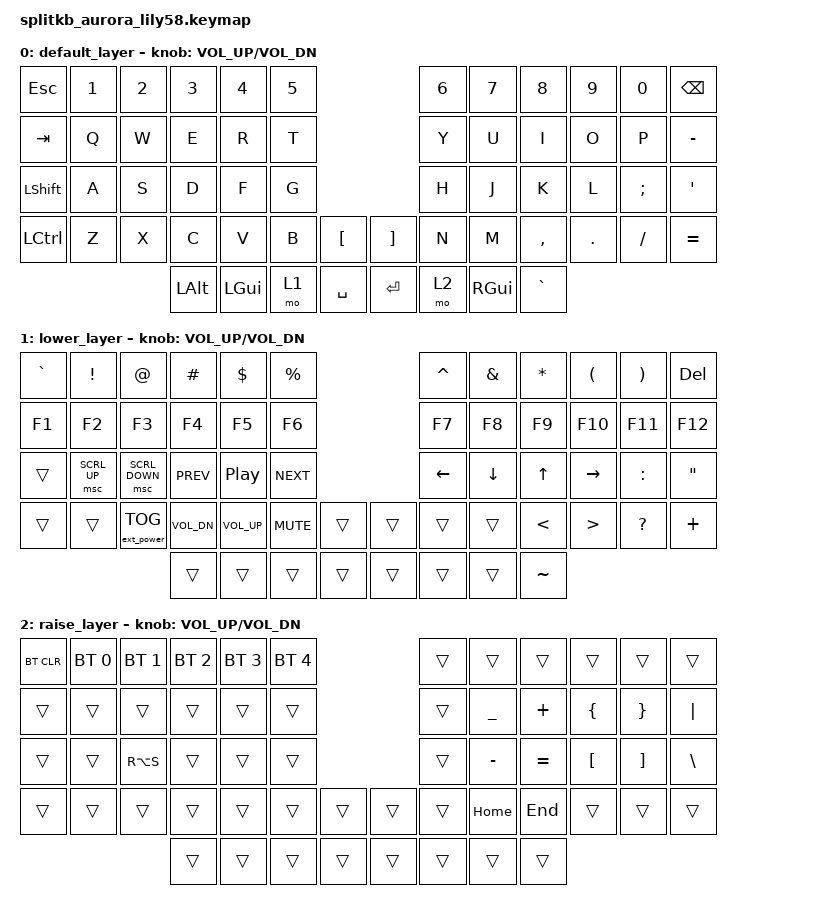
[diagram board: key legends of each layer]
/*
 * Copyright (c) 2022 The ZMK Contributors
 *
 * SPDX-License-Identifier: MIT
 */

#include <behaviors.dtsi>
#include <dt-bindings/zmk/bt.h>
#include <dt-bindings/zmk/ext_power.h>
#include <dt-bindings/zmk/keys.h>
#include <dt-bindings/zmk/pointing.h>

/ {
    keymap {
        compatible = "zmk,keymap";

        default_layer {
            // ------------------------------------------------------------------------------------------------------------
            // |  ESC  |  1  |  2  |  3   |  4   |  5   |                   |  6   |  7    |  8    |  9   |   0   |   `   |
            // |  TAB  |  Q  |  W  |  E   |  R   |  T   |                   |  Y   |  U    |  I    |  O   |   P   |   -   |
            // |  CTRL |  A  |  S  |  D   |  F   |  G   |                   |  H   |  J    |  K    |  L   |   ;   |   '   |
            // | SHIFT |  Z  |  X  |  C   |  V   |  B   |   "["  |  |  "]"  |  N   |  M    |  ,    |  .   |   /   | SHIFT |
            //                     | ALT  | GUI  | LOWER|  SPACE |  | ENTER | RAISE| BSPC  | GUI   |

            bindings = <
&kp ESC    &kp N1  &kp N2  &kp N3    &kp N4    &kp N5                         &kp N6  &kp N7    &kp N8     &kp N9   &kp N0    &kp BACKSPACE
&kp TAB    &kp Q   &kp W   &kp E     &kp R     &kp T                          &kp Y   &kp U     &kp I      &kp O    &kp P     &kp MINUS
&kp LSHFT  &kp A   &kp S   &kp D     &kp F     &kp G                          &kp H   &kp J     &kp K      &kp L    &kp SEMI  &kp SQT
&kp LCTRL  &kp Z   &kp X   &kp C     &kp V     &kp B   &kp LBKT     &kp RBKT  &kp N   &kp M     &kp COMMA  &kp DOT  &kp FSLH  &kp EQUAL
                           &kp LALT  &kp LGUI  &mo 1   &kp SPACE    &kp RET   &mo 2   &kp RGUI  &kp GRAVE
            >;

            sensor-bindings = <&inc_dec_kp C_VOL_UP C_VOL_DN>;
        };

        lower_layer {
            // ------------------------------------------------------------------------------------------------------------
            // | BTCLR | BT1 | BT2 |  BT3 |  BT4 |  BT5 |                   |      |       |       |      |       |       |
            // |  F1   |  F2 |  F3 |  F4  |  F5  |  F6  |                   |  F7  |  F8   |  F9   |  F10 |  F11  |  F12  |
            // |   `   |  !  |  @  |  #   |  $   |  %   |                   |  ^   |  &    |  *    |  (   |   )   |   ~   |
            // |       |     |     |      |      |      |        |  |       |      |  _    |  +    |  {   |   }   |  "|"  |
            //                     |      |      |      |        |  |       |      |       |       |

            bindings = <
&kp GRAVE  &kp EXCL      &kp AT             &kp HASH      &kp DOLLAR    &kp PRCNT                     &kp CARET  &kp AMPS  &kp STAR       &kp LPAR          &kp RPAR      &kp DEL
&kp F1     &kp F2        &kp F3             &kp F4        &kp F5        &kp F6                        &kp F7     &kp F8    &kp F9         &kp F10           &kp F11       &kp F12
&trans     &msc SCRL_UP  &msc SCRL_DOWN     &kp C_PREV    &kp C_PP      &kp C_NEXT                    &kp LEFT   &kp DOWN  &kp UP         &kp RIGHT         &kp COLON     &kp DOUBLE_QUOTES
&trans     &trans        &ext_power EP_TOG  &kp C_VOL_DN  &kp C_VOL_UP  &kp C_MUTE  &trans    &trans  &trans     &trans    &kp LESS_THAN  &kp GREATER_THAN  &kp QUESTION  &kp PLUS
                                            &trans        &trans        &trans      &trans    &trans  &trans     &trans    &kp TILDE
            >;

            sensor-bindings = <&inc_dec_kp C_VOL_UP C_VOL_DN>;
        };

        raise_layer {
            // ------------------------------------------------------------------------------------------------------------
            // |       |     |     |      |      |      |                   |      |       |       |      |       |       |
            // |   `   |  1  |  2  |  3   |  4   |  5   |                   |  6   |   7   |   8   |  9   |   0   |       |
            // |   F1  |  F2 |  F3 |  F4  |  F5  |  F6  |                   |      |   <-  |   v   |  ^   |  ->   |       |
            // |   F7  |  F8 |  F9 |  F10 |  F11 |  F12 |        |  |       |  +   |   -   |   =   |  [   |   ]   |   \   |
            //                     |      |      |      |        |  |       |      |       |       |

            bindings = <
&bt BT_CLR  &bt BT_SEL 0  &bt BT_SEL 1  &bt BT_SEL 2  &bt BT_SEL 3  &bt BT_SEL 4                    &trans  &trans     &trans     &trans            &trans             &trans
&trans      &trans        &trans        &trans        &trans        &trans                          &trans  &kp UNDER  &kp PLUS   &kp LEFT_BRACE    &kp RIGHT_BRACE    &kp PIPE
&trans      &trans        &kp RA(S)     &trans        &trans        &trans                          &trans  &kp MINUS  &kp EQUAL  &kp LEFT_BRACKET  &kp RIGHT_BRACKET  &kp BACKSLASH
&trans      &trans        &trans        &trans        &trans        &trans        &trans    &trans  &trans  &kp HOME   &kp END    &trans            &trans             &trans
                                        &trans        &trans        &trans        &trans    &trans  &trans  &trans     &trans
            >;

            sensor-bindings = <&inc_dec_kp C_VOL_UP C_VOL_DN>;
        };
    };
};
